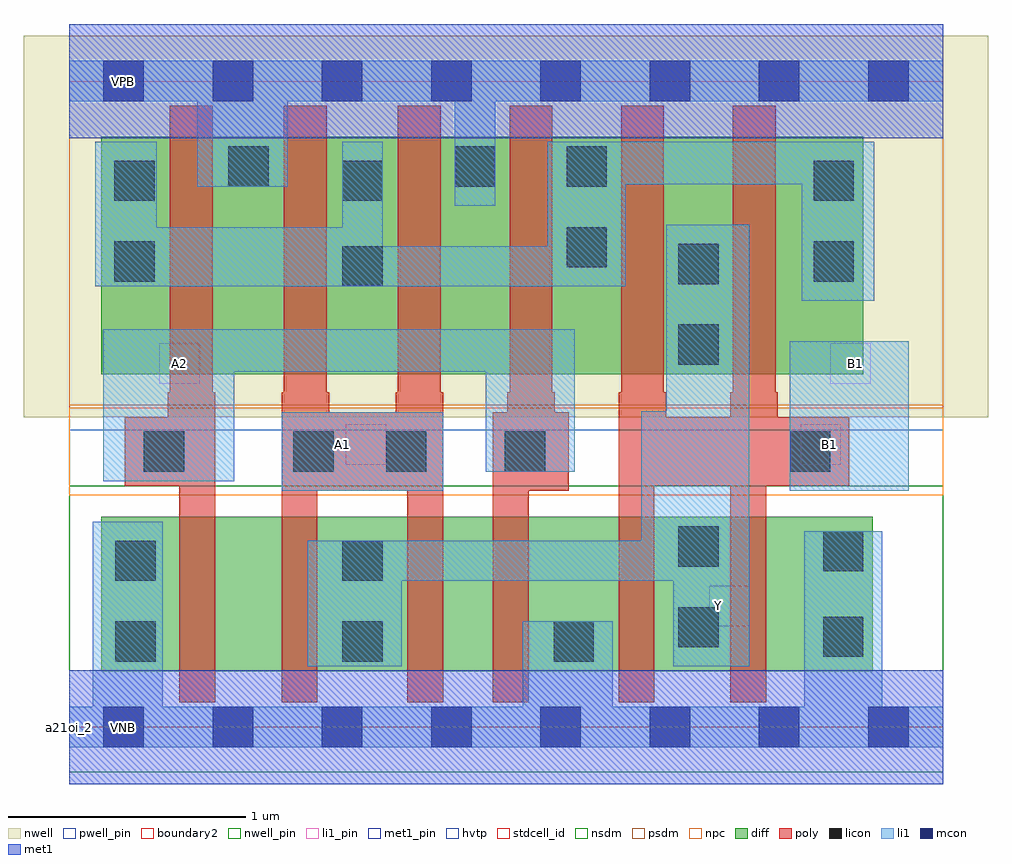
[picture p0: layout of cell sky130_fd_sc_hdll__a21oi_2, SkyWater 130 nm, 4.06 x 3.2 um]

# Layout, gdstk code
import gdstk
lib = gdstk.Library(unit=1e-6, precision=1e-09)
def R(c, l, rs):  # rectangles x0, y0, x1, y1
    for r in rs: c.add(gdstk.rectangle(r[:2], r[2:], *l))
def A(c, l, x, y, w, h, nx, ny, dx, dy):  # array of equal rectangles
    R(c, l, [(x+i*dx, y+j*dy, x+i*dx+w, y+j*dy+h) for i in range(nx) for j in range(ny)])
def P(c, l, *ps):  # polygons
    for p in ps: c.add(gdstk.Polygon(p, *l))
nwell_pin = (64, 16)
nwell = (64, 20)
diff = (65, 20)
poly = (66, 20)
licon = (66, 44)
li1_pin = (67, 16)
li1 = (67, 20)
mcon = (67, 44)
met1_pin = (68, 16)
met1 = (68, 20)
hvtp = (78, 44)
stdcell_id = (81, 4)
nsdm = (93, 44)
psdm = (94, 20)
npc = (95, 20)
pwell_pin = (122, 16)
boundary2 = (236, 0)

sky130_fd_sc_hdll__a21oi = lib.new_cell('sky130_fd_sc_hdll__a21oi_2')
R(sky130_fd_sc_hdll__a21oi, nwell_pin, [(0.145,2.635,0.315,2.805)])
R(sky130_fd_sc_hdll__a21oi, nwell, [(-0.19,1.305,3.87,2.91)])
R(sky130_fd_sc_hdll__a21oi, diff, [(0.135,0.235,3.385,0.885), (0.135,1.485,3.345,2.485)])
P(sky130_fd_sc_hdll__a21oi, poly, [(0.615,1.41),(0.605,1.41),(0.605,2.615),(0.425,2.615),(0.425,1.41),(0.415,1.41),(0.415,1.305),(0.235,1.305),(0.235,1.015),(0.465,1.015),(0.465,0.105),(0.615,0.105)],
  [(1.575,1.41),(1.565,1.41),(1.565,2.615),(1.385,2.615),(1.385,1.41),(1.375,1.41),(1.375,1.325),(1.095,1.325),(1.095,1.41),(1.085,1.41),(1.085,2.615),(0.905,2.615),(0.905,1.41),(0.895,1.41),(0.895,0.105),(1.045,0.105),(1.045,0.995),(1.425,0.995),(1.425,0.105),(1.575,0.105)],
  [(2.105,1.325),(2.045,1.325),(2.045,1.41),(2.035,1.41),(2.035,2.615),(1.855,2.615),(1.855,1.41),(1.845,1.41),(1.845,1.325),(1.785,1.325),(1.785,0.105),(1.935,0.105),(1.935,0.995),(2.105,0.995)],
  [(3.285,1.305),(2.985,1.305),(2.985,1.41),(2.975,1.41),(2.975,2.615),(2.795,2.615),(2.795,1.41),(2.785,1.41),(2.785,1.305),(2.515,1.305),(2.515,1.41),(2.505,1.41),(2.505,2.615),(2.325,2.615),(2.325,1.41),(2.315,1.41),(2.315,0.105),(2.465,0.105),(2.465,1.015),(2.785,1.015),(2.785,0.105),(2.935,0.105),(2.935,1.015),(3.285,1.015)])
R(sky130_fd_sc_hdll__a21oi, licon, [(0.195,0.275,0.365,0.445), (1.15,0.275,1.32,0.445), (2.04,0.275,2.21,0.445), (3.175,0.295,3.345,0.465), (2.565,0.335,2.735,0.505), (0.195,0.615,0.365,0.785), (1.15,0.615,1.32,0.785), (3.175,0.655,3.345,0.825), (2.565,0.675,2.735,0.845), (0.315,1.075,0.485,1.245), (0.945,1.075,1.115,1.245), (1.335,1.075,1.505,1.245), (1.835,1.075,2.005,1.245), (3.035,1.075,3.205,1.245), (2.565,1.525,2.735,1.695), (1.15,1.855,1.32,2.025), (2.565,1.865,2.735,2.035), (0.19,1.875,0.36,2.045), (3.135,1.875,3.305,2.045), (2.095,1.935,2.265,2.105), (0.19,2.215,0.36,2.385), (1.15,2.215,1.32,2.385), (3.135,2.215,3.305,2.385), (0.67,2.275,0.84,2.445), (1.625,2.275,1.795,2.445), (2.095,2.275,2.265,2.445)])
R(sky130_fd_sc_hdll__a21oi, li1_pin, [(2.695,0.425,2.865,0.595), (1.165,1.105,1.335,1.275), (3.08,1.105,3.25,1.275), (0.38,1.445,0.55,1.615), (3.205,1.445,3.375,1.615)])
R(sky130_fd_sc_hdll__a21oi, li1, [(0.895,0.995,1.575,1.325), (3.035,0.995,3.535,1.625)])
P(sky130_fd_sc_hdll__a21oi, li1, [(3.68,0.085),(3.425,0.085),(3.425,0.825),(3.095,0.825),(3.095,0.085),(2.29,0.085),(2.29,0.445),(1.91,0.445),(1.91,0.085),(0.395,0.085),(0.395,0.865),(0.1,0.865),(0.1,0.085),(0,0.085),(0,-0.085),(3.68,-0.085)],
  [(3.68,2.805),(0,2.805),(0,2.635),(0.54,2.635),(0.54,2.275),(0.92,2.275),(0.92,2.635),(1.625,2.635),(1.625,2.195),(1.795,2.195),(1.795,2.635),(3.68,2.635)],
  [(3.39,2.465),(2.015,2.465),(2.015,2.025),(1.32,2.025),(1.32,2.465),(1.15,2.465),(1.15,2.105),(0.37,2.105),(0.37,2.465),(0.11,2.465),(0.11,1.855),(2.345,1.855),(2.345,2.285),(3.085,2.285),(3.085,1.795),(3.39,1.795)],
  [(2.13,1.675),(0.145,1.675),(0.145,1.035),(0.695,1.035),(0.695,1.495),(1.755,1.495),(1.755,1.075),(2.13,1.075)],
  [(2.865,2.115),(2.515,2.115),(2.515,1.33),(2.41,1.33),(2.41,0.785),(1.005,0.785),(1.005,0.255),(1.4,0.255),(1.4,0.615),(2.545,0.615),(2.545,0.255),(2.865,0.255)])
A(sky130_fd_sc_hdll__a21oi, mcon, 0.145, -0.085, 0.17, 0.17, 8, 2, 0.46, 2.72)
R(sky130_fd_sc_hdll__a21oi, met1_pin, [(0.145,-0.085,0.315,0.085), (0.145,2.635,0.315,2.805)])
R(sky130_fd_sc_hdll__a21oi, met1, [(0,-0.24,3.68,0.24), (0,2.48,3.68,2.96)])
R(sky130_fd_sc_hdll__a21oi, hvtp, [(0,1.25,3.68,2.72)])
R(sky130_fd_sc_hdll__a21oi, stdcell_id, [(0,0,3.68,2.72)])
R(sky130_fd_sc_hdll__a21oi, nsdm, [(0,-0.19,3.68,1.015)])
R(sky130_fd_sc_hdll__a21oi, psdm, [(0,1.355,3.68,2.91)])
R(sky130_fd_sc_hdll__a21oi, npc, [(0,0.975,3.68,1.345)])
R(sky130_fd_sc_hdll__a21oi, pwell_pin, [(0.145,-0.085,0.315,0.085)])
R(sky130_fd_sc_hdll__a21oi, boundary2, [(0,0,3.68,2.72)])
sky130_fd_sc_hdll__a21oi.add(gdstk.Label('B1', (3.2,1.19), layer=67, texttype=5))
sky130_fd_sc_hdll__a21oi.add(gdstk.Label('B1', (3.31,1.53), layer=67, texttype=5))
sky130_fd_sc_hdll__a21oi.add(gdstk.Label('A2', (0.465,1.53), layer=67, texttype=5))
sky130_fd_sc_hdll__a21oi.add(gdstk.Label('A1', (1.15,1.19), layer=67, texttype=5))
sky130_fd_sc_hdll__a21oi.add(gdstk.Label('Y', (2.735,0.51), layer=67, texttype=5))
sky130_fd_sc_hdll__a21oi.add(gdstk.Label('VNB', (0.23,0), layer=64, texttype=59))
sky130_fd_sc_hdll__a21oi.add(gdstk.Label('VPB', (0.23,2.72), layer=64, texttype=5))
sky130_fd_sc_hdll__a21oi.add(gdstk.Label('VGND', (0.23,0), layer=68, texttype=5))
sky130_fd_sc_hdll__a21oi.add(gdstk.Label('VPWR', (0.23,2.72), layer=68, texttype=5))
sky130_fd_sc_hdll__a21oi.add(gdstk.Label('a21oi_2', (0,0), layer=83, texttype=44))

lib.write_gds('sky130_fd_sc_hdll__a21oi_2.gds')
